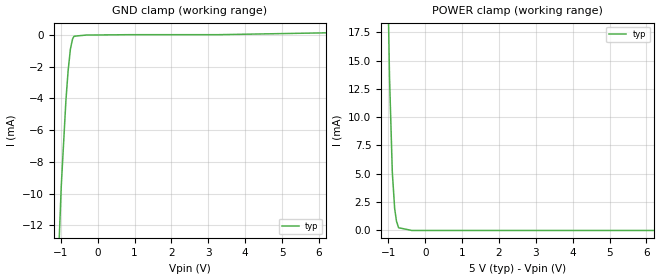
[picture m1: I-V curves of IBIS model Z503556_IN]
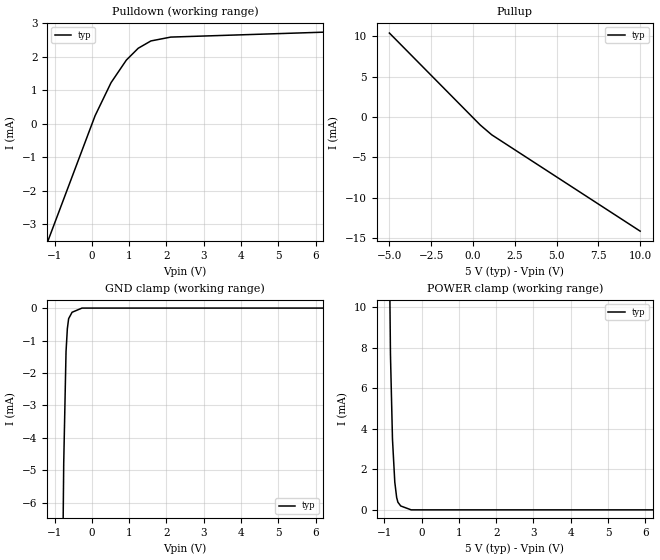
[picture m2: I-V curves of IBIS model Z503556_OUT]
| YOU ARE ONLY AUTHORIZED TO USE THIS SOFTWARE
| ACCORDING TO LICENSOR'S LICENSE RESTRICTIONS.
[IBIS Ver] 3.1
[File Name] mc14071bcp.ibs
[File Rev] 2.0
[Source] Measured and created by ICX Technology
[Date] Friday 7/14/00 9:07:53 AM
[Copyright]
| (C) COPYRIGHT 1993-2000
| MENTOR GRAPHICS CORPORATION
| ICX STANDARD LIBRARY, ICX PROJECT MODELING,
| ICX CUSTOM MODELING, ICX VENDOR MODEL
| ALL RIGHTS RESERVED.
| THE FOLLOWING ARE TRADEMARKS OR SERVICE MARKS OF
| MENTOR GRAPHICS CORPORATION:ICX (R), ICX STANDARD
| LIBRARY(R), ICX PROJECT MODELING(R), ICX CUSTOM
| MODELING(R), qualityIBIS(TM), MODELVIEWER(TM),
| AND MODELEDITOR(TM)
| ALL COPIES OF SOFTWARE, INCLUDING BUT NOT LIMITED TO
| ANY MODIFICATIONS, ENHANCEMENTS OR DERIVATIVE WORKS,
| MUST CONTAIN ALL MENTOR GRAPHICS CORPORATION'S
| NOTICES AND LEGENDS, INCLUDING THOSE EMBEDDED IN
| SOFTWARE AND THOSE AFFIXED TO SOFTWARE MEDIUM
| AND CONTAINER, AS RECEIVED FROM MENTOR GRAPHICS
| CORPORATION.
|  ZAP Model Builder 2.7
[Component] MC14071BCP
[Manufacturer] OnSemiconductor
[Package]
| variable   typ   min   max
R_pkg  .21ohms NA NA
L_pkg  4.543nH NA NA
C_pkg  1.059pF NA NA
[Pin] signal_name  model_name  R_pin  L_pin C_pin
1 IN1A Z503556_IN .22 6.757n 1.432p
2 IN2A Z503556_IN .212 4.757n 1.142p
3 OUTA Z503556_OUT .204 3.257n .852p
4 OUTB Z503556_OUT .196 2.257n .562p
5 IN1B Z503556_IN .204 3.257n .852p
6 IN2B Z503556_IN .212 4.757n 1.142p
7 VSS POWER .22 6.757n 1.432p
8 IN1C Z503556_IN .22 6.757n 1.432p
9 IN2C Z503556_IN .212 4.757n 1.142p
10 OUTC Z503556_OUT .204 3.257n .852p
11 OUTD Z503556_OUT .196 2.257n .562p
12 IN1D Z503556_IN .204 3.257n .852p
13 IN2D Z503556_IN .212 4.757n 1.142p
14 VDD POWER .22 6.757n 1.432p
| Models and submodels in the file (2): Z503556_IN (Input), Z503556_OUT (Output)
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| (C) COPYRIGHT 1993-2000
| MENTOR GRAPHICS CORPORATION
| ICX STANDARD LIBRARY, ICX PROJECT MODELING,
| ICX CUSTOM MODELING, ICX VENDOR MODEL
| ALL RIGHTS RESERVED.
| THE FOLLOWING ARE TRADEMARKS OR SERVICE MARKS OF
| MENTOR GRAPHICS CORPORATION:ICX (R), ICX STANDARD
| LIBRARY(R), ICX PROJECT MODELING(R), ICX CUSTOM
| MODELING(R), qualityIBIS(TM), MODELVIEWER(TM),
| AND MODELEDITOR(TM)
| ALL COPIES OF SOFTWARE, INCLUDING BUT NOT LIMITED TO
| ANY MODIFICATIONS, ENHANCEMENTS OR DERIVATIVE WORKS,
| MUST CONTAIN ALL MENTOR GRAPHICS CORPORATION'S
| NOTICES AND LEGENDS, INCLUDING THOSE EMBEDDED IN
| SOFTWARE AND THOSE AFFIXED TO SOFTWARE MEDIUM
| AND CONTAINER, AS RECEIVED FROM MENTOR GRAPHICS
| CORPORATION.
| Model Application Version 1.89 2/18/99.
[Model] Z503556_IN
Model_type Input
Vinl = 1.500V
Vinh = 3.500V
C_comp 4.000pF NA NA
| variable typ   min   max
[Voltage Range] 5.000V NA NA
[GND Clamp Reference] 0.000V NA NA
[POWER Clamp Reference] 5.000V NA NA
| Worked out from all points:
|   GND clamp passes 1 mA (typ) near -0.75 V on its own axis
|   POWER clamp passes 1 mA (typ) near -0.79 V on its own axis
[GND Clamp]
-5V       -251.3mA   NA         NA
-989.4mV  -9.487mA   NA         NA
-864mV    -4.136mA   NA         NA
-804.7mV  -2.268mA   NA         NA
-741.8mV  -887.2uA   NA         NA
-683.6mV  -256.4uA   NA         NA
-644.7mV  -81.84uA   NA         NA
-322.3mV  -6.666uA   NA         NA
846.2mV   16.73uA    NA         NA
3.258V    16.73uA    NA         NA
10V       286.7uA    NA         NA
[POWER Clamp]
-5V       764.8mA    NA         NA
-970mV    13.57mA    NA         NA
-894mV    5.16mA     NA         NA
-830mV    1.931mA    NA         NA
-781mV    826.9uA    NA         NA
-723mV    240.2uA    NA         NA
-361.5mV  0A         NA         NA
10V       0A         NA         NA
| (C) COPYRIGHT 1993-2000
| MENTOR GRAPHICS CORPORATION
| ICX STANDARD LIBRARY, ICX PROJECT MODELING,
| ICX CUSTOM MODELING, ICX VENDOR MODEL
| ALL RIGHTS RESERVED.
| THE FOLLOWING ARE TRADEMARKS OR SERVICE MARKS OF
| MENTOR GRAPHICS CORPORATION:ICX (R), ICX STANDARD
| LIBRARY(R), ICX PROJECT MODELING(R), ICX CUSTOM
| MODELING(R), qualityIBIS(TM), MODELVIEWER(TM),
| AND MODELEDITOR(TM)
| ALL COPIES OF SOFTWARE, INCLUDING BUT NOT LIMITED TO
| ANY MODIFICATIONS, ENHANCEMENTS OR DERIVATIVE WORKS,
| MUST CONTAIN ALL MENTOR GRAPHICS CORPORATION'S
| NOTICES AND LEGENDS, INCLUDING THOSE EMBEDDED IN
| SOFTWARE AND THOSE AFFIXED TO SOFTWARE MEDIUM
| AND CONTAINER, AS RECEIVED FROM MENTOR GRAPHICS
| CORPORATION.
| Model Application Version 1.89 2/18/99.
[Model] Z503556_OUT
Model_type Output
Vref=0.000V
Rref=500.0Mohms
Cref=50.00pF
Vmeas=2.500V
C_comp 8.000pF NA NA
| variable typ   min   max
[Voltage Range] 5.000V NA NA
[POWER Clamp Reference] 5.000V NA NA
[Pullup Reference] 5.000V NA NA
[Pulldown Reference] 0.000V NA NA
[GND Clamp Reference] 0.000V NA NA
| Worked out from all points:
|   slope of the pulldown table from 0 to 0.75 V, typ, clamps not added: 461 ohm
|   slope of the pullup table from 0 to 0.75 V, typ, clamps not added: 511 ohm
|   GND clamp passes 1 mA (typ) near -0.68 V on its own axis
|   POWER clamp passes 1 mA (typ) near -0.69 V on its own axis
[GND Clamp]
-5V       -494.7mA   NA         NA
-756.8mV  -4.781mA   NA         NA
-694.7mV  -1.343mA   NA         NA
-659.2mV  -631.8uA   NA         NA
-625mV    -325.8uA   NA         NA
-532.2mV  -128.9uA   NA         NA
-266.1mV  0A         NA         NA
10V       0A         NA         NA
[Pulldown]
-5V       -14.78mA   NA         NA
84.69mV   241.3uA    NA         NA
512.9mV   1.228mA    NA         NA
923.7mV   1.902mA    NA         NA
1.242V    2.255mA    NA         NA
1.582V    2.473mA    NA         NA
2.114V    2.588mA    NA         NA
10V       2.87mA     NA         NA
[Pullup]
-5V       10.39mA    NA         NA
435mV     -988.8uA   NA         NA
1.123V    -2.205mA   NA         NA
10V       -14.12mA   NA         NA
[POWER Clamp]
-5V       751.3mA    NA         NA
-835mV    7.658mA    NA         NA
-781mV    3.49mA     NA         NA
-719mV    1.37mA     NA         NA
-669mV    609.3uA    NA         NA
-635mV    374.5uA    NA         NA
-559mV    190.6uA    NA         NA
-279.5mV  0A         NA         NA
10V       0A         NA         NA
[Ramp]
| variable typ min max
dV/dt_r 2.506/16.89n NA NA
dV/dt_f 2.506/12.99n NA NA
R_load = 2.500kOhms
